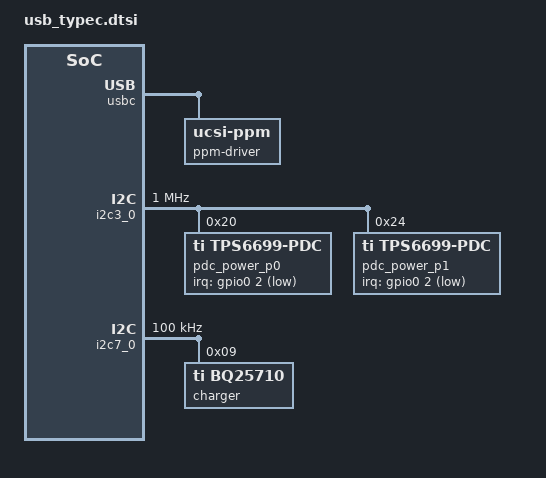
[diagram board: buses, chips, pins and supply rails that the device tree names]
/*
 * Copyright 2024 The ChromiumOS Authors
 *
 * SPDX-License-Identifier: Apache-2.0
 */

#include <usbc-policy.dtsi>

 /{
	usbc {
		#address-cells = <1>;
		#size-cells = <0>;
		usbc_port0: port0@0 {
			compatible = "named-usbc-port";
			reg = <0>;
			chg = <&charger>;
			pdc = <&pdc_power_p0>;
			policy = <&cros_policy>;
		};
		usbc_port1: port1@1 {
			compatible = "named-usbc-port";
			reg = <1>;
			pdc = <&pdc_power_p1>;
			policy = <&cros_policy>;
		};
		ppm-driver {
			compatible = "ucsi-ppm";
		};
	};
};

&i2c3_0 {
	label = "I2C_PORT_PD";
	clock-frequency = <I2C_BITRATE_FAST_PLUS>;

	pdc_power_p0: tps6699-pdc@20 {
		compatible = "ti,tps6699-pdc";
		reg = <0x20>;
		/* EC_PD_INT */
		irq-gpios = <&gpio0 2 GPIO_ACTIVE_LOW>;
	};
	pdc_power_p1: tps6699-pdc@24 {
		compatible = "ti,tps6699-pdc";
		reg = <0x24>;
		/* EC_PD_INT */
		irq-gpios = <&gpio0 2 GPIO_ACTIVE_LOW>;
	};
};

&i2c7_0 {
	label = "I2C_BATTERY";
	label = "I2C_PORT_CHARGER";

	clock-frequency = <I2C_BITRATE_STANDARD>;
	charger: bq25710@9 {
		compatible = "ti,bq25710";
		status = "okay";
		reg = <0x9>;
	};
};
